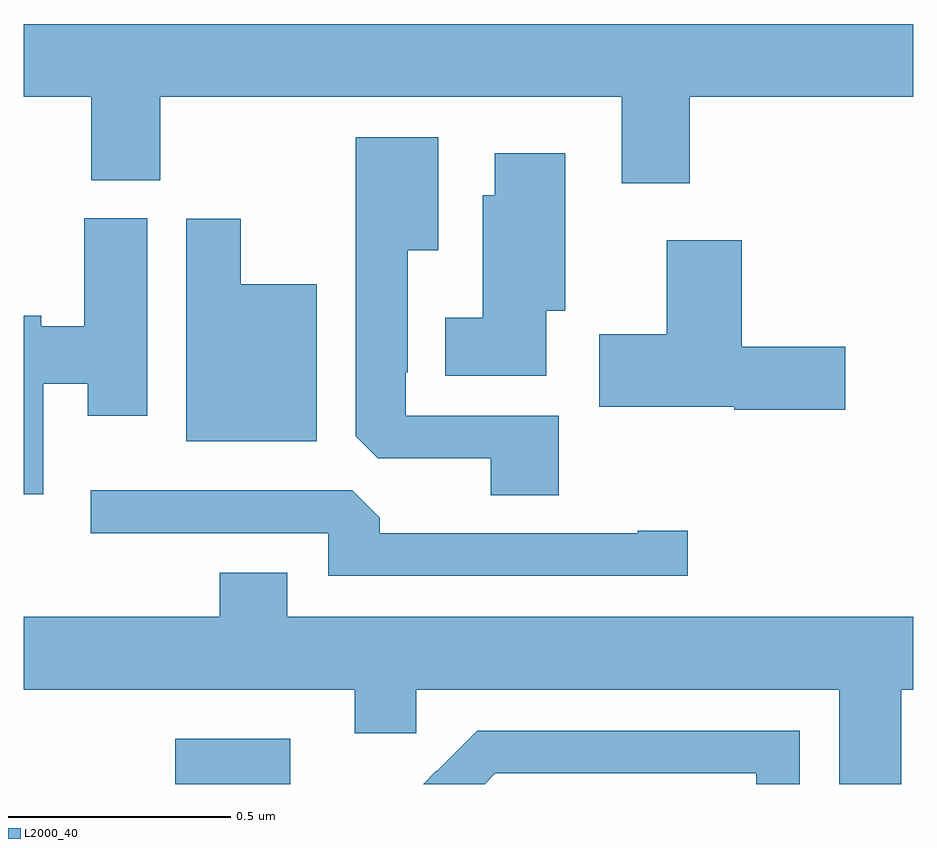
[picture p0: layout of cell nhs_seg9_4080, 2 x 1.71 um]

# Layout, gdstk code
import gdstk
lib = gdstk.Library(unit=1e-6, precision=1e-09)
def R(c, l, rs):  # rectangles x0, y0, x1, y1
    for r in rs: c.add(gdstk.rectangle(r[:2], r[2:], *l))
def P(c, l, *ps):  # polygons
    for p in ps: c.add(gdstk.Polygon(p, *l))
L2000_40 = (2000, 40)

nhs_seg9_4080 = lib.new_cell('nhs_seg9_4080')
R(nhs_seg9_4080, L2000_40, [(161.341,1237.5,161.599,1237.602)])
P(nhs_seg9_4080, L2000_40, [(162.497,1239.044),(163,1239.044),(163,1239.208),(161,1239.208),(161,1239.044),(161.152,1239.044),(161.152,1238.857),(161.307,1238.857),(161.307,1239.044),(162.344,1239.044),(162.344,1238.85),(162.497,1238.85)],
  [(162.203,1238.328),(161.859,1238.328),(161.859,1238.425),(161.863,1238.425),(161.863,1238.699),(161.932,1238.699),(161.932,1238.953),(161.747,1238.953),(161.747,1238.281),(161.796,1238.232),(162.05,1238.232),(162.05,1238.149),(162.203,1238.149)],
  [(162.175,1238.564),(162.217,1238.564),(162.217,1238.917),(162.059,1238.917),(162.059,1238.823),(162.032,1238.823),(162.032,1238.548),(161.948,1238.548),(161.948,1238.417),(162.175,1238.417)],
  [(161.044,1238.399),(161.144,1238.399),(161.144,1238.328),(161.278,1238.328),(161.278,1238.772),(161.137,1238.772),(161.137,1238.529),(161.04,1238.529),(161.04,1238.552),(161,1238.552),(161,1238.151),(161.044,1238.151)],
  [(161.659,1238.623),(161.488,1238.623),(161.488,1238.77),(161.366,1238.77),(161.366,1238.27),(161.659,1238.27)],
  [(162.847,1238.483),(162.614,1238.483),(162.614,1238.722),(162.446,1238.722),(162.446,1238.511),(162.294,1238.511),(162.294,1238.348),(162.597,1238.348),(162.597,1238.341),(162.847,1238.341)],
  [(162.493,1238.069),(162.38,1238.069),(162.38,1238.064),(161.801,1238.064),(161.801,1238.098),(161.739,1238.16),(161.151,1238.16),(161.151,1238.064),(161.685,1238.064),(161.685,1237.968),(162.493,1237.968)],
  [(162.973,1237.712),(163,1237.712),(163,1237.876),(161.593,1237.876),(161.593,1237.975),(161.441,1237.975),(161.441,1237.876),(161,1237.876),(161,1237.712),(161.744,1237.712),(161.744,1237.614),(161.883,1237.614),(161.883,1237.712),(162.833,1237.712),(162.833,1237.5),(162.973,1237.5)],
  [(162.06,1237.524),(162.647,1237.524),(162.647,1237.5),(162.744,1237.5),(162.744,1237.62),(162.02,1237.62),(161.929,1237.529),(161.928,1237.53),(161.898,1237.5),(162.036,1237.5)])

lib.write_gds('nhs_seg9_4080.gds')
